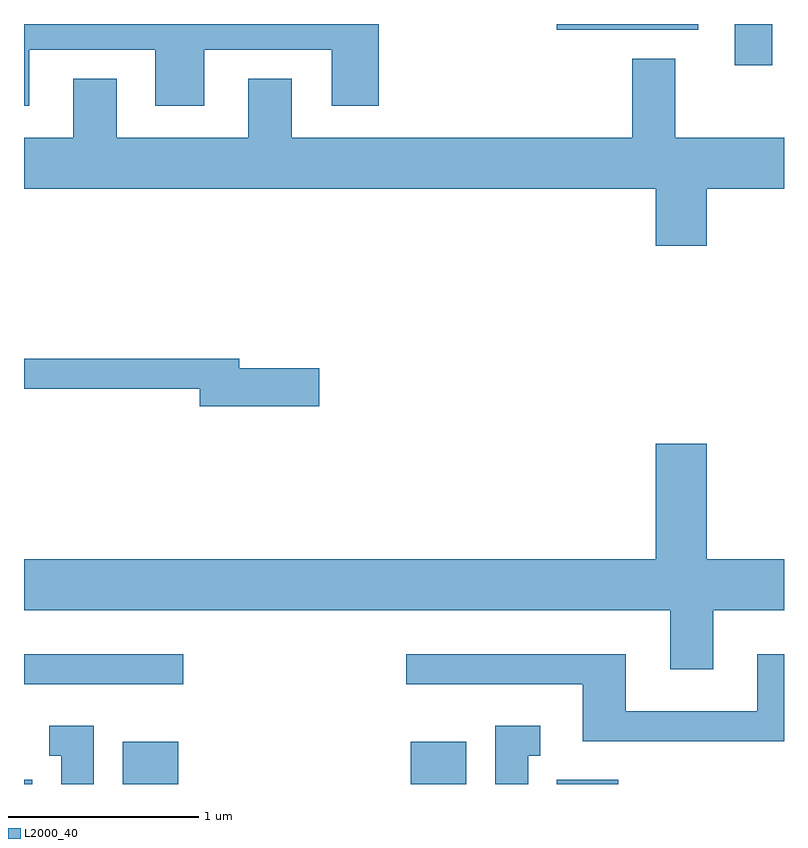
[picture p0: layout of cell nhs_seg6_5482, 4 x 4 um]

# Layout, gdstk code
import gdstk
lib = gdstk.Library(unit=1e-6, precision=1e-09)
def R(c, l, rs):  # rectangles x0, y0, x1, y1
    for r in rs: c.add(gdstk.rectangle(r[:2], r[2:], *l))
def P(c, l, *ps):  # polygons
    for p in ps: c.add(gdstk.Polygon(p, *l))
L2000_40 = (2000, 40)

nhs_seg6_5482 = lib.new_cell('nhs_seg6_5482')
R(nhs_seg6_5482, L2000_40, [(351.611,1620.162,351.654,1620.184), (352.131,1620.162,352.424,1620.384), (353.646,1620.162,353.939,1620.384), (354.416,1620.162,354.739,1620.184), (351.611,1620.686,352.448,1620.844), (355.351,1623.946,355.549,1624.162), (354.416,1624.131,355.159,1624.162)])
P(nhs_seg6_5482, L2000_40, [(351.639,1624.026),(352.301,1624.026),(352.301,1623.731),(352.559,1623.731),(352.559,1624.026),(353.231,1624.026),(353.231,1623.731),(353.479,1623.731),(353.479,1624.162),(351.611,1624.162),(351.611,1623.731),(351.639,1623.731)],
  [(355.204,1623.296),(355.611,1623.296),(355.611,1623.564),(355.039,1623.564),(355.039,1623.979),(354.811,1623.979),(354.811,1623.564),(353.019,1623.564),(353.019,1623.874),(352.791,1623.874),(352.791,1623.564),(352.099,1623.564),(352.099,1623.874),(351.871,1623.874),(351.871,1623.564),(351.611,1623.564),(351.611,1623.296),(354.936,1623.296),(354.936,1622.996),(355.204,1622.996)],
  [(353.164,1622.349),(352.744,1622.349),(352.744,1622.399),(351.611,1622.399),(351.611,1622.241),(352.536,1622.241),(352.536,1622.151),(353.164,1622.151)],
  [(355.239,1621.076),(355.611,1621.076),(355.611,1621.344),(355.204,1621.344),(355.204,1621.954),(354.936,1621.954),(354.936,1621.344),(351.611,1621.344),(351.611,1621.076),(355.011,1621.076),(355.011,1620.766),(355.239,1620.766)],
  [(355.611,1620.844),(355.471,1620.844),(355.471,1620.544),(354.779,1620.544),(354.779,1620.844),(353.623,1620.844),(353.623,1620.686),(354.551,1620.686),(354.551,1620.386),(355.611,1620.386)],
  [(354.264,1620.311),(354.328,1620.311),(354.328,1620.469),(354.091,1620.469),(354.091,1620.162),(354.264,1620.162)],
  [(351.979,1620.469),(351.743,1620.469),(351.743,1620.311),(351.806,1620.311),(351.806,1620.162),(351.979,1620.162)])

lib.write_gds('nhs_seg6_5482.gds')
